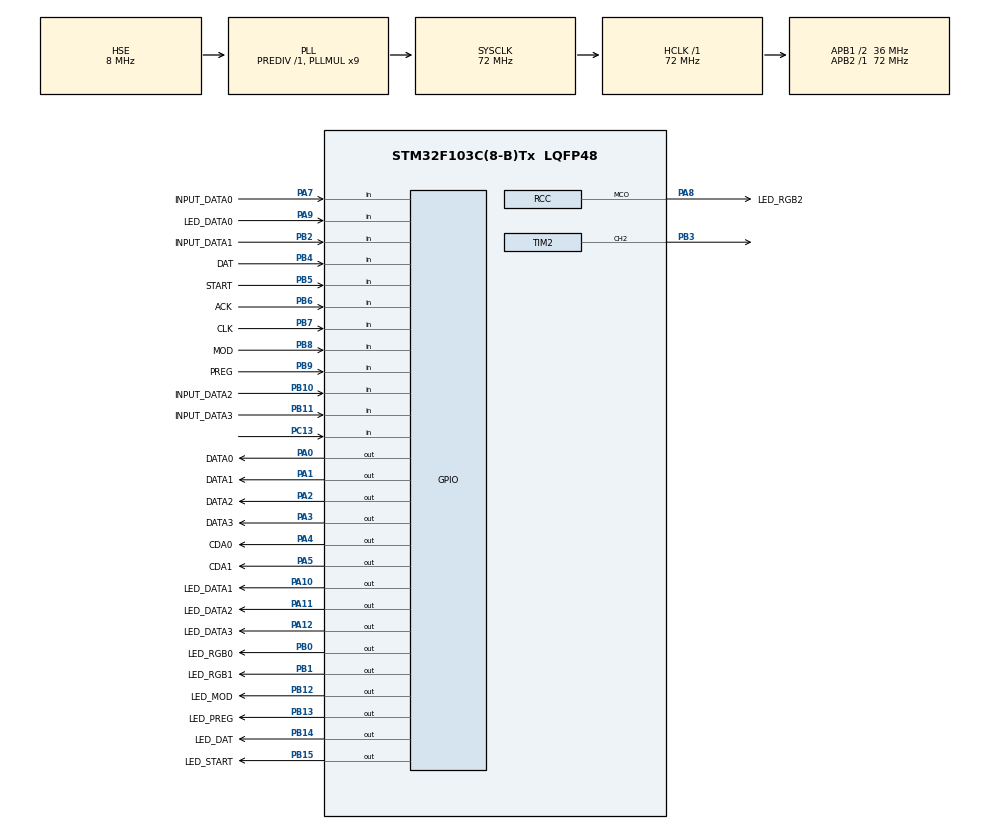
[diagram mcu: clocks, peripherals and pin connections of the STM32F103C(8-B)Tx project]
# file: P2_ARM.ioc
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Mcu.Family=STM32F1
Mcu.Name=STM32F103C(8-B)Tx
Mcu.Package=LQFP48
NVIC.PriorityGroup=NVIC_PRIORITYGROUP_4
NVIC.RCC_IRQn=true\:0\:0\:false\:false\:true\:true\:false\:true
NVIC.TIM2_IRQn=true\:0\:0\:false\:false\:true\:true\:true\:true
PA0-WKUP.GPIO_Label=DATA0
PA0-WKUP.Signal=GPIO_Output
PA1.GPIO_Label=DATA1
PA1.Signal=GPIO_Output
PA10.GPIO_Label=LED_DATA1
PA10.Signal=GPIO_Output
PA11.GPIO_Label=LED_DATA2
PA11.Signal=GPIO_Output
PA12.GPIO_Label=LED_DATA3
PA12.Signal=GPIO_Output
PA13.Signal=SYS_JTMS-SWDIO
PA14.Signal=SYS_JTCK-SWCLK
PA2.GPIO_Label=DATA2
PA2.Signal=GPIO_Output
PA3.GPIO_Label=DATA3
PA3.Signal=GPIO_Output
PA4.GPIO_Label=CDA0
PA4.Signal=GPIO_Output
PA5.GPIO_Label=CDA1
PA5.Signal=GPIO_Output
PA7.GPIO_Label=INPUT_DATA0
PA7.Signal=GPIO_Input
PA8.GPIO_Label=LED_RGB2
PA8.Mode=Clock-out
PA8.Signal=RCC_MCO
PA9.GPIO_Label=LED_DATA0
PA9.Signal=GPIO_Input
PB0.GPIO_Label=LED_RGB0
PB0.Signal=GPIO_Output
PB1.GPIO_Label=LED_RGB1
PB1.Signal=GPIO_Output
PB10.GPIO_Label=INPUT_DATA2
PB10.Signal=GPIO_Input
PB11.GPIO_Label=INPUT_DATA3
PB11.Signal=GPIO_Input
PB12.GPIO_Label=LED_MOD
PB12.Signal=GPIO_Output
PB13.GPIO_Label=LED_PREG
PB13.Signal=GPIO_Output
PB14.GPIO_Label=LED_DAT
PB14.Signal=GPIO_Output
PB15.GPIO_Label=LED_START
PB15.Signal=GPIO_Output
PB2.GPIO_Label=INPUT_DATA1
PB2.Signal=GPIO_Input
PB3.Signal=S_TIM2_CH2
PB4.GPIO_Label=DAT
PB4.Signal=GPIO_Input
PB5.GPIO_Label=START
PB5.Signal=GPIO_Input
PB6.GPIO_Label=ACK
PB6.Signal=GPIO_Input
PB7.GPIO_Label=CLK
PB7.Signal=GPIO_Input
PB8.GPIO_Label=MOD
PB8.Signal=GPIO_Input
PB9.GPIO_Label=PREG
PB9.Signal=GPIO_Input
PC13-TAMPER-RTC.Signal=GPIO_Input
PD0-OSC_IN.Mode=HSE-External-Oscillator
PD0-OSC_IN.Signal=RCC_OSC_IN
PD1-OSC_OUT.Mode=HSE-External-Oscillator
PD1-OSC_OUT.Signal=RCC_OSC_OUT
ProjectManager.HeapSize=0x200
ProjectManager.StackSize=0x400
ProjectManager.TargetToolchain=STM32CubeIDE
RCC.AHBFreq_Value=72000000
RCC.APB1CLKDivider=RCC_HCLK_DIV2
RCC.APB1Freq_Value=36000000
RCC.APB1TimFreq_Value=72000000
RCC.APB2Freq_Value=72000000
RCC.APB2TimFreq_Value=72000000
RCC.HCLKFreq_Value=72000000
RCC.PLLMUL=RCC_PLL_MUL9
RCC.PLLSourceVirtual=RCC_PLLSOURCE_HSE
RCC.RCC_MCOSource=RCC_MCO1SOURCE_PLLCLK
RCC.SYSCLKFreq_VALUE=72000000
RCC.SYSCLKSource=RCC_SYSCLKSOURCE_PLLCLK
RCC.USBFreq_Value=72000000
SH.S_TIM2_CH2.0=TIM2_CH2,PWM Generation2 CH2
TIM2.AutoReloadPreload=TIM_AUTORELOAD_PRELOAD_DISABLE
TIM2.Channel-PWM\ Generation2\ CH2=TIM_CHANNEL_2
TIM2.Period=100
TIM2.Prescaler=7199
VP_SYS_VS_ND.Mode=No_Debug
VP_TIM2_VS_ClockSourceINT.Mode=Internal
VP_TIM2_VS_ClockSourceITR.Mode=TriggerSource_ITR2
board=custom

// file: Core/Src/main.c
/* USER CODE BEGIN Header */
/**
  ******************************************************************************
  * @file           : main.c
  * @brief          : Main program body
  ******************************************************************************
  * @attention
  *
  * Copyright (c) 2025 STMicroelectronics.
  * All rights reserved.
  *
  * This software is licensed under terms that can be found in the LICENSE file
  * in the root directory of this software component.
  * If no LICENSE file comes with this software, it is provided AS-IS.
  *
  ******************************************************************************
  */
/* USER CODE END Header */
#include "main.h"
#include "stm32f1xx_hal.h"

TIM_HandleTypeDef htim2;

/* USER CODE BEGIN PV */
#define NUMS_LED 8 //Number of LEDs
#define NUMS_BITS_DATA 4

#define BUTTONS_PINS   {INPUT_DATA0_Pin, INPUT_DATA1_Pin, INPUT_DATA2_Pin, INPUT_DATA3_Pin}
#define BUTTONS_PORTS  {INPUT_DATA0_GPIO_Port, INPUT_DATA1_GPIO_Port, INPUT_DATA2_GPIO_Port, INPUT_DATA3_GPIO_Port}

#define DATA_PINS   {DATA0_Pin, DATA1_Pin, DATA2_Pin, DATA3_Pin}
#define DATA_PORTS  {DATA0_GPIO_Port, DATA1_GPIO_Port, DATA2_GPIO_Port, DATA3_GPIO_Port}

// LED Pins
#define LED_PINS {LED_MOD_Pin, LED_PREG_Pin, LED_DAT_Pin, LED_START_Pin, LED_DATA0_Pin, LED_DATA1_Pin, LED_DATA2_Pin, LED_DATA3_Pin}

// LED Ports
#define LED_PORTS {LED_MOD_GPIO_Port, LED_PREG_GPIO_Port, LED_DAT_GPIO_Port, LED_START_GPIO_Port, LED_DATA0_GPIO_Port, LED_DATA1_GPIO_Port, LED_DATA2_GPIO_Port, LED_DATA3_GPIO_Port}

uint8_t startStatus = 0; // Start Status Variable
uint8_t datStatus = 0; // DAT Status Variable
uint8_t modStatus = 0; // MOD Status Variable
uint8_t pregStatus = 0; // PREG Status Variable
uint8_t ledData[NUMS_LED]; // Array for storing LED Status
uint8_t dataArr[NUMS_BITS_DATA]; // Array used for storing data for transmissions
uint8_t cdaStatus = 0; // (CDA & 1) Status for CDA0_Pin and (CDA & (1 << 1)) Status for CDA1_Pin

uint8_t Q = 0;

/* USER CODE END PV */

void SystemClock_Config(void);
static void MX_GPIO_Init(void);
static void MX_TIM2_Init(void);
/* USER CODE BEGIN PFP */
void EXTI_Init();
/* USER CODE END PFP */

int main(void)
{

  /* MCU Configuration--------------------------------------------------------*/

  /* Reset of all peripherals, Initializes the Flash interface and the Systick. */
  HAL_Init();

  /* USER CODE BEGIN Init */
  HAL_TIM_Base_Start_IT(&htim2); // Init Tim2 Instance

  /* USER CODE END Init */

  /* Configure the system clock */
  SystemClock_Config();

  /* Initialize all configured peripherals */
  MX_GPIO_Init();
  MX_TIM2_Init();
  /* USER CODE BEGIN 2 */
//  EXTI_Init();

  /* USER CODE END 2 */

  /* Infinite loop */
  while (1)
  {

  }
}

void SystemClock_Config(void)
{
  RCC_OscInitTypeDef RCC_OscInitStruct = {0};
  RCC_ClkInitTypeDef RCC_ClkInitStruct = {0};

  /** Initializes the RCC Oscillators according to the specified parameters
  * in the RCC_OscInitTypeDef structure.
  */
  RCC_OscInitStruct.OscillatorType = RCC_OSCILLATORTYPE_HSE;
  RCC_OscInitStruct.HSEState = RCC_HSE_ON;
  RCC_OscInitStruct.HSEPredivValue = RCC_HSE_PREDIV_DIV1;
  RCC_OscInitStruct.HSIState = RCC_HSI_ON;
  RCC_OscInitStruct.PLL.PLLState = RCC_PLL_ON;
  RCC_OscInitStruct.PLL.PLLSource = RCC_PLLSOURCE_HSE;
  RCC_OscInitStruct.PLL.PLLMUL = RCC_PLL_MUL9;
  if (HAL_RCC_OscConfig(&RCC_OscInitStruct) != HAL_OK)
  {
    Error_Handler();
  }

  /** Initializes the CPU, AHB and APB buses clocks
  */
  RCC_ClkInitStruct.ClockType = RCC_CLOCKTYPE_HCLK|RCC_CLOCKTYPE_SYSCLK
                              |RCC_CLOCKTYPE_PCLK1|RCC_CLOCKTYPE_PCLK2;
  RCC_ClkInitStruct.SYSCLKSource = RCC_SYSCLKSOURCE_PLLCLK;
  RCC_ClkInitStruct.AHBCLKDivider = RCC_SYSCLK_DIV1;
  RCC_ClkInitStruct.APB1CLKDivider = RCC_HCLK_DIV2;
  RCC_ClkInitStruct.APB2CLKDivider = RCC_HCLK_DIV1;

  if (HAL_RCC_ClockConfig(&RCC_ClkInitStruct, FLASH_LATENCY_2) != HAL_OK)
  {
    Error_Handler();
  }
  HAL_RCC_MCOConfig(RCC_MCO, RCC_MCO1SOURCE_PLLCLK, RCC_MCODIV_1);
}

static void MX_TIM2_Init(void)
{

  TIM_ClockConfigTypeDef sClockSourceConfig = {0};
  TIM_SlaveConfigTypeDef sSlaveConfig = {0};
  TIM_MasterConfigTypeDef sMasterConfig = {0};
  TIM_OC_InitTypeDef sConfigOC = {0};

  htim2.Instance = TIM2;
  htim2.Init.Prescaler = 7199;
  htim2.Init.CounterMode = TIM_COUNTERMODE_UP;
  htim2.Init.Period = 100;
  htim2.Init.ClockDivision = TIM_CLOCKDIVISION_DIV1;
  htim2.Init.AutoReloadPreload = TIM_AUTORELOAD_PRELOAD_DISABLE;
  if (HAL_TIM_Base_Init(&htim2) != HAL_OK)
  {
    Error_Handler();
  }
  sClockSourceConfig.ClockSource = TIM_CLOCKSOURCE_INTERNAL;
  if (HAL_TIM_ConfigClockSource(&htim2, &sClockSourceConfig) != HAL_OK)
  {
    Error_Handler();
  }
  if (HAL_TIM_PWM_Init(&htim2) != HAL_OK)
  {
    Error_Handler();
  }
  sSlaveConfig.SlaveMode = TIM_SLAVEMODE_DISABLE;
  sSlaveConfig.InputTrigger = TIM_TS_ITR2;
  if (HAL_TIM_SlaveConfigSynchro(&htim2, &sSlaveConfig) != HAL_OK)
  {
    Error_Handler();
  }
  sMasterConfig.MasterOutputTrigger = TIM_TRGO_RESET;
  sMasterConfig.MasterSlaveMode = TIM_MASTERSLAVEMODE_DISABLE;
  if (HAL_TIMEx_MasterConfigSynchronization(&htim2, &sMasterConfig) != HAL_OK)
  {
    Error_Handler();
  }
  sConfigOC.OCMode = TIM_OCMODE_PWM1;
  sConfigOC.Pulse = 0;
  sConfigOC.OCPolarity = TIM_OCPOLARITY_HIGH;
  sConfigOC.OCFastMode = TIM_OCFAST_DISABLE;
  if (HAL_TIM_PWM_ConfigChannel(&htim2, &sConfigOC, TIM_CHANNEL_2) != HAL_OK)
  {
    Error_Handler();
  }
  HAL_TIM_MspPostInit(&htim2);

}

static void MX_GPIO_Init(void)
{
  GPIO_InitTypeDef GPIO_InitStruct = {0};

  /* GPIO Ports Clock Enable */
  __HAL_RCC_GPIOC_CLK_ENABLE();
  __HAL_RCC_GPIOD_CLK_ENABLE();
  __HAL_RCC_GPIOA_CLK_ENABLE();
  __HAL_RCC_GPIOB_CLK_ENABLE();

  /*Configure GPIO pin Output Level */
  HAL_GPIO_WritePin(GPIOA, DATA0_Pin|DATA1_Pin|DATA2_Pin|DATA3_Pin
                          |CDA0_Pin|CDA1_Pin|LED_DATA1_Pin|LED_DATA2_Pin
                          |LED_DATA3_Pin, GPIO_PIN_RESET);

  /*Configure GPIO pin Output Level */
  HAL_GPIO_WritePin(GPIOB, LED_RGB0_Pin|LED_RGB1_Pin|LED_MOD_Pin|LED_PREG_Pin
                          |LED_DAT_Pin|LED_START_Pin, GPIO_PIN_RESET);

  /*Configure GPIO pin : PC13 */
  GPIO_InitStruct.Pin = GPIO_PIN_13;
  GPIO_InitStruct.Mode = GPIO_MODE_INPUT;
  GPIO_InitStruct.Pull = GPIO_NOPULL;
  HAL_GPIO_Init(GPIOC, &GPIO_InitStruct);

  /*Configure GPIO pins : DATA0_Pin DATA1_Pin DATA2_Pin DATA3_Pin
                           CDA0_Pin CDA1_Pin LED_DATA1_Pin LED_DATA2_Pin
                           LED_DATA3_Pin */
  GPIO_InitStruct.Pin = DATA0_Pin|DATA1_Pin|DATA2_Pin|DATA3_Pin
                          |CDA0_Pin|CDA1_Pin|LED_DATA1_Pin|LED_DATA2_Pin
                          |LED_DATA3_Pin;
  GPIO_InitStruct.Mode = GPIO_MODE_OUTPUT_PP;
  GPIO_InitStruct.Pull = GPIO_NOPULL;
  GPIO_InitStruct.Speed = GPIO_SPEED_FREQ_LOW;
  HAL_GPIO_Init(GPIOA, &GPIO_InitStruct);

  /*Configure GPIO pins : INPUT_DATA0_Pin LED_DATA0_Pin */
  GPIO_InitStruct.Pin = INPUT_DATA0_Pin|LED_DATA0_Pin;
  GPIO_InitStruct.Mode = GPIO_MODE_INPUT;
  GPIO_InitStruct.Pull = GPIO_NOPULL;
  HAL_GPIO_Init(GPIOA, &GPIO_InitStruct);

  /*Configure GPIO pins : LED_RGB0_Pin LED_RGB1_Pin LED_MOD_Pin LED_PREG_Pin
                           LED_DAT_Pin LED_START_Pin */
  GPIO_InitStruct.Pin = LED_RGB0_Pin|LED_RGB1_Pin|LED_MOD_Pin|LED_PREG_Pin
                          |LED_DAT_Pin|LED_START_Pin;
  GPIO_InitStruct.Mode = GPIO_MODE_OUTPUT_PP;
  GPIO_InitStruct.Pull = GPIO_NOPULL;
  GPIO_InitStruct.Speed = GPIO_SPEED_FREQ_LOW;
  HAL_GPIO_Init(GPIOB, &GPIO_InitStruct);

  /*Configure GPIO pins : INPUT_DATA1_Pin INPUT_DATA2_Pin INPUT_DATA3_Pin DAT_Pin
                           START_Pin ACK_Pin CLK_Pin MOD_Pin
                           PREG_Pin */
  GPIO_InitStruct.Pin = INPUT_DATA1_Pin|INPUT_DATA2_Pin|INPUT_DATA3_Pin|DAT_Pin
                          |START_Pin|ACK_Pin|CLK_Pin|MOD_Pin
                          |PREG_Pin;
  GPIO_InitStruct.Mode = GPIO_MODE_INPUT;
  GPIO_InitStruct.Pull = GPIO_NOPULL;
  HAL_GPIO_Init(GPIOB, &GPIO_InitStruct);

  /*Configure GPIO pin : LED_RGB2_Pin */
  GPIO_InitStruct.Pin = LED_RGB2_Pin;
  GPIO_InitStruct.Mode = GPIO_MODE_AF_PP;
  GPIO_InitStruct.Speed = GPIO_SPEED_FREQ_LOW;
  HAL_GPIO_Init(LED_RGB2_GPIO_Port, &GPIO_InitStruct);

}

/* USER CODE BEGIN 4 */

/*
 * @brief Timer2 interrupt callback (every 10ms).
 *        Handles communication protocol FSM between two MCUs.
 */
void HAL_TIM_PeriodElapsedCallback(TIM_HandleTypeDef *htim){
	if (htim->Instance != TIM2){
		return ;
	}

	switch(Q){  // Finite State Machine (FSM) controller using Q as state variable
		case 0:
			// Check if START button is pressed
			if (HAL_GPIO_ReadPin(START_GPIO_Port, START_Pin) == GPIO_PIN_SET){
				Q = 3; // Go to START signal handling state
				startStatus = 1; // Mark that dat was pressed
				updateLedData(LED_START_Pin, (1 & startStatus)); // Update LED status
			}

			// Check if DAT button is pressed
			if (HAL_GPIO_ReadPin(DAT_GPIO_Port, DAT_Pin) == GPIO_PIN_SET){
				Q = 1; // Go to data signal handling state
				datStatus = 1; // Mark that start was pressed
				updateLedData(LED_DAT_Pin, (1 & datStatus)); // Update LED status
			}

			// Check if PREG button toggled
			if (HAL_GPIO_ReadPin(PREG_GPIO_Port, PREG_Pin) == GPIO_PIN_SET){
				pregStatus = 1; // Set PREG status to 1
				updateLedData(LED_PREG_Pin, pregStatus); // Update LED
			}

			// Check if MOD button toggled
			if (HAL_GPIO_ReadPin(MOD_GPIO_Port, MOD_Pin) == GPIO_PIN_SET){
				modStatus = 1; // Set MOD status to 1
				updateLedData(LED_MOD_Pin, modStatus); // Update LED
			}

			sendLED(); // Update all LED outputs according to ledData[]
			break;

		case 1:
			// Wait for START button to be still pressed
			if (HAL_GPIO_ReadPin(START_GPIO_Port, START_Pin) == GPIO_PIN_SET){
				Q = 2; // Go to START setup
				startStatus = 1; // Toggle START flag
			}
			break;

		case 2:
		{
			// Set ACK pin as input
			GPIO_InitTypeDef GPIO_InitStruct = {0};
			GPIO_InitStruct.Pin = ACK_Pin;
			GPIO_InitStruct.Mode = GPIO_MODE_INPUT;
			GPIO_InitStruct.Pull = GPIO_NOPULL;
			GPIO_InitStruct.Speed = GPIO_SPEED_FREQ_LOW;
			HAL_GPIO_Init(ACK_GPIO_Port, &GPIO_InitStruct);

			// Set CLK pin as output
			GPIO_InitStruct.Pin = CLK_Pin;
			GPIO_InitStruct.Mode = GPIO_MODE_OUTPUT_PP;
			GPIO_InitStruct.Pull = GPIO_NOPULL;
			HAL_GPIO_Init(CLK_GPIO_Port, &GPIO_InitStruct);

			// Prepare data pins as OUTPUT for transmission
			uint16_t data_pins[] = DATA_PINS;
			GPIO_TypeDef* data_ports[] = DATA_PORTS;
			setPinMode(data_pins, data_ports, NUMS_BITS_DATA, GPIO_MODE_OUTPUT_PP);

			Q = 10; // Proceed to transmit command (CDA)
			break;
		}

		case 3:
			// Wait for DAT button to be still pressed
			if (HAL_GPIO_ReadPin(DAT_GPIO_Port, DAT_Pin) == GPIO_PIN_SET){
				Q = 4; // Continue flow
				datStatus = 1; // Toggle DAT flag
			}
			break;

		case 4:
			// Decide whether to read or write based on MOD button
			if (modStatus){
				Q = 6; // MOD = 1 → Read mode
			}else{
				Q = 5; // MOD = 0 → Write mode
			}
			break;

		case 5:
		{
			// Set ACK as OUTPUT
			GPIO_InitTypeDef GPIO_InitStruct = {0};
			GPIO_InitStruct.Pin = ACK_Pin;
			GPIO_InitStruct.Mode = GPIO_MODE_OUTPUT_PP;
			GPIO_InitStruct.Pull = GPIO_NOPULL;
			GPIO_InitStruct.Speed = GPIO_SPEED_FREQ_LOW;
			HAL_GPIO_Init(ACK_GPIO_Port, &GPIO_InitStruct);

			// Set CLK as INPUT (will wait for clock from external device)
			GPIO_InitStruct.Pin = CLK_Pin;
			GPIO_InitStruct.Mode = GPIO_MODE_INPUT;
			GPIO_InitStruct.Pull = GPIO_NOPULL;
			HAL_GPIO_Init(CLK_GPIO_Port, &GPIO_InitStruct);

			Q = 30; // Ready to transmit actual data
			break;
		}

		case 6:
		{
			// Setup for reading data
			GPIO_InitTypeDef GPIO_InitStruct = {0};
			GPIO_InitStruct.Pin = ACK_Pin;
			GPIO_InitStruct.Mode = GPIO_MODE_INPUT;
			GPIO_InitStruct.Pull = GPIO_NOPULL;
			GPIO_InitStruct.Speed = GPIO_SPEED_FREQ_LOW;
			HAL_GPIO_Init(ACK_GPIO_Port, &GPIO_InitStruct);

			// Set CLK pin as OUTPUT (we will toggle it)
			GPIO_InitStruct.Pin = CLK_Pin;
			GPIO_InitStruct.Mode = GPIO_MODE_OUTPUT_PP;
			GPIO_InitStruct.Pull = GPIO_NOPULL;
			HAL_GPIO_Init(CLK_GPIO_Port, &GPIO_InitStruct);

			// Configure data pins as INPUT
			uint16_t data_pins[] = DATA_PINS;
			GPIO_TypeDef* data_ports[] = DATA_PORTS;
			setPinMode(data_pins, data_ports, NUMS_BITS_DATA, GPIO_MODE_INPUT);

			Q = 60; // Ready to receive data
			break;
		}

		case 10:
			// Set CDA based on MOD and PREG button states
			cdaStatus = 2 * pregStatus + modStatus;
			Q = 11;
			break;

		case 11:
			// Transmit CDA on 2 pins
			WR_CDA();

			// Set CLK low to signal start of transmission
			HAL_GPIO_WritePin(CLK_GPIO_Port, CLK_Pin, GPIO_PIN_RESET);
			Q = 12;
			break;

		case 12:
			// Set CLK high to latch data
			HAL_GPIO_WritePin(CLK_GPIO_Port, CLK_Pin, GPIO_PIN_SET);
			Q = 13;
			break;

		case 13:
			// Wait for ACK to go LOW (waiting for external device)
			if (HAL_GPIO_ReadPin(ACK_GPIO_Port, ACK_Pin) != GPIO_PIN_SET){
				Q = 14;
			}
			break;

		case 14:
			// Wait for ACK to go HIGH again (external device accepted command)
			if (HAL_GPIO_ReadPin(ACK_GPIO_Port, ACK_Pin) == GPIO_PIN_SET){
				startStatus = 0; // Reset flag
				Q = 0; // Go back to idle
			}
			break;

		case 30:
			readButtonData(); // Read 4-bit data
			SEND_DATA();      // Send it through GPIO
			HAL_GPIO_WritePin(CLK_GPIO_Port, CLK_Pin, GPIO_PIN_RESET); // Clock low
			Q = 31;
			break;

		case 31:
			HAL_GPIO_WritePin(CLK_GPIO_Port, CLK_Pin, GPIO_PIN_SET); // Clock high
			Q = 32;
			break;

		case 32:
			// Wait for external device to lower ACK
			if (HAL_GPIO_ReadPin(ACK_GPIO_Port, ACK_Pin) != GPIO_PIN_SET){
				Q = 33;
			}
			break;

		case 33:
			// Wait for external device to raise ACK back
			if (HAL_GPIO_ReadPin(ACK_GPIO_Port, ACK_Pin) != GPIO_PIN_SET){
				Q = 0;
				datStatus = 0; // Reset data flag
			}
			break;

		case 60:
			// Wait for CLK to go LOW (indicating start from external MCU)
			if (HAL_GPIO_ReadPin(CLK_GPIO_Port, CLK_Pin) != GPIO_PIN_SET){
				Q = 61;
			}
			break;

		case 61:
			// Wait for CLK to go HIGH again (indicating data ready)
			if (HAL_GPIO_ReadPin(CLK_GPIO_Port, CLK_Pin) == GPIO_PIN_SET){
				Q = 62;
			}
			break;

		case 62:
			READ_DATA(); // Read incoming 4-bit data
			HAL_GPIO_WritePin(ACK_GPIO_Port, ACK_Pin, GPIO_PIN_RESET); // Pull ACK low
			Q = 63;
			break;

		case 63:
			// Finish by pulling ACK high
			HAL_GPIO_WritePin(ACK_GPIO_Port, ACK_Pin, GPIO_PIN_SET);
			datStatus = 0; // Reset flag
			Q = 0; // Back to idle
			break;

		default:
			// Safety default in case Q has invalid value
			break;
	}
}

/*
 * @brief Updates physical LED outputs based on the `ledData[]` array.
 *        Each element in `ledData` corresponds to an LED's ON (1) or OFF (0) state.
 */
void sendLED(void){
    // Define local arrays holding pin numbers and corresponding GPIO ports for the LEDs.
    uint16_t led_pins[] = LED_PINS;
    GPIO_TypeDef* led_ports[] = LED_PORTS;

    // Loop through each LED (total NUMS_LED = 8)
    for (int i = 0; i < NUMS_LED; i++) {
        /*
         * Write to each LED pin:
         * - If `ledData[i]` is 1 → GPIO_PIN_SET (turn LED ON)
         * - If `ledData[i]` is 0 → GPIO_PIN_RESET (turn LED OFF)
         * Uses pointer arithmetic to access port and pin arrays.
         */
        HAL_GPIO_WritePin(
            *(led_ports + i),                  // LED GPIO port
            *(led_pins + i),                   // LED GPIO pin
            (*(ledData + i) & 1) != 0          // LED state: ON if value is 1, else OFF
                ? GPIO_PIN_SET
                : GPIO_PIN_RESET
        );
    }
}

/*
 * @brief Updates the `ledData[]` array for a specific LED pin.
 *        This function is used to change the logical state of an LED
 *        (used later by sendLED() to update physical output).
 *
 * @param pin:   The specific GPIO pin associated with the LED.
 * @param state: Desired state for the LED (1 = ON, 0 = OFF).
 */
void updateLedData(uint16_t pin, uint8_t state){
    // Create a local array containing the list of all defined LED pins
    uint16_t led_pins[] = LED_PINS;

    // Loop through the list of LED pins to find the matching one
    for(int i = 0; i < NUMS_LED; i++){
        // If the given pin matches the current pin in the array
        if (pin == *(led_pins + i)){
            // Update the corresponding index in ledData with the new state
            *(ledData + i) = state;
            // Exit the loop after finding the match
            break;
        }
    }
}

/*
 * Enable GPIO IR
 */
void EXTI_Init(void) {
//    GPIO_InitTypeDef GPIO_InitStruct = {0};
//
//    // Enable clocks for GPIOA and GPIOB (Already enabled in MX_GPIO_Init )
//    	__HAL_RCC_GPIOA_CLK_ENABLE();
//    	__HAL_RCC_GPIOB_CLK_ENABLE();
//
//    // Define Pins & Ports Arrays
//    uint16_t exti_pins[] = {START_Pin, DAT_Pin, PREG_Pin, MOD_Pin};
//    GPIO_TypeDef* exti_ports[] = {START_GPIO_Port, DAT_GPIO_Port, PREG_GPIO_Port, MOD_GPIO_Port};
//
//    // Configure
//
//    //Setting up port for Rising Only Interrupt
//    for (int i = 0; i < 2; i++){
//    	GPIO_InitStruct.Pin = *(exti_pins + i);
//    	GPIO_InitStruct.Mode = GPIO_MODE_IT_RISING;
//    	GPIO_InitStruct.Pull = GPIO_PULLDOWN;
//    	HAL_GPIO_Init(*(exti_ports + i), &GPIO_InitStruct);
//    }
//
//    // Setting up port for Rising & Falling Interrupt
//    for (int i = 2; i < 4; i++){
//    	GPIO_InitStruct.Pin = *(exti_pins + i); //Alternative for exti_pins[i]
//    	GPIO_InitStruct.Mode = GPIO_MODE_IT_RISING_FALLING;
//    	GPIO_InitStruct.Pull = GPIO_NOPULL;
//    	HAL_GPIO_Init(*(exti_ports + i), &GPIO_InitStruct); //Alternative for exti_ports[i]
//    }
//
//    // Enable NVIC for the corresponding EXTI lines
//    HAL_NVIC_SetPriority(EXTI0_IRQn, 2, 0);
//    HAL_NVIC_EnableIRQ(EXTI0_IRQn);
//
//    HAL_NVIC_SetPriority(EXTI1_IRQn, 2, 0);
//    HAL_NVIC_EnableIRQ(EXTI1_IRQn);
//
//    HAL_NVIC_SetPriority(EXTI9_5_IRQn, 2, 0);
//    HAL_NVIC_EnableIRQ(EXTI9_5_IRQn);
}

/*
 * @brief Reads data from CDA0 and CDA1 pins.
 * @details Configures the pins as input, reads their states, and stores values.
 */
void RD_CDA(void){
		GPIO_InitTypeDef GPIO_InitStruct = {0};

	    // Configure CDA0 and CDA1 as INPUT mode
	    GPIO_InitStruct.Pin = CDA0_Pin | CDA1_Pin;
	    GPIO_InitStruct.Mode = GPIO_MODE_INPUT;
	    GPIO_InitStruct.Pull = GPIO_NOPULL;
	    HAL_GPIO_Init(GPIOA, &GPIO_InitStruct);

	    // Read pin states
	    uint8_t cda0_state = HAL_GPIO_ReadPin(CDA0_GPIO_Port, CDA0_Pin);
	    uint8_t cda1_state = HAL_GPIO_ReadPin(CDA1_GPIO_Port, CDA1_Pin);

	    // Store or process the received data (modify as needed)
	    cdaStatus = (cda1_state << 1) | cda0_state;
}

/*
 * @brief Writes data to CDA0 and CDA1 pins.
 *
 * @details This function uses the global variable `cdaStatus` to set the logic level
 *          on two output pins (CDA0 and CDA1). The value of `cdaStatus` is a 2-bit number (0 to 3)
 *          and each bit controls one of the two CDA pins:
 *            - Bit 0 (LSB) controls CDA0
 *            - Bit 1 controls CDA1
 *          The pin logic is set as follows:
 *            - 00 (0) -> CDA0 = LOW, CDA1 = LOW
 *            - 01 (1) -> CDA0 = HIGH, CDA1 = LOW
 *            - 10 (2) -> CDA0 = LOW, CDA1 = HIGH
 *            - 11 (3) -> CDA0 = HIGH, CDA1 = HIGH
 */
void WR_CDA(void){
    // Set CDA0 pin based on bit 0 of cdaStatus.
    // If bit 0 is 1, set CDA0 HIGH; otherwise, set it LOW.
    HAL_GPIO_WritePin(CDA0_GPIO_Port, CDA0_Pin, (cdaStatus & 0x01) ? GPIO_PIN_SET : GPIO_PIN_RESET);

    // Set CDA1 pin based on bit 1 of cdaStatus.
    // If bit 1 is 1, set CDA1 HIGH; otherwise, set it LOW.
    HAL_GPIO_WritePin(CDA1_GPIO_Port, CDA1_Pin, (cdaStatus & 0x02) ? GPIO_PIN_SET : GPIO_PIN_RESET);
}

/*
 * @brief Reads data from button input pins and stores the values in the `dataArr[]` array.
 *
 * @details Each button is connected to a specific pin (defined in BUTTONS_PINS and BUTTONS_PORTS).
 *          This function loops through all 4 buttons, reads their digital state (HIGH or LOW),
 *          and stores the result (0 or 1) in the `dataArr[]` array at the corresponding index.
 *
 *          The array `dataArr[]` acts as a buffer to hold the state of each input button.
 *
 *          - INPUT: BUTTONS_PINS[] = list of pins connected to buttons
 *                   BUTTONS_PORTS[] = list of corresponding GPIO ports
 *          - OUTPUT: dataArr[] = stores the state (0 or 1) for each button
 */
void readButtonData(void){
    // Define the pins connected to each input button
    uint16_t btn_pins[] = BUTTONS_PINS;

    // Define the ports where each button is connected
    GPIO_TypeDef *btn_ports[] = BUTTONS_PORTS;

    // Iterate through all input buttons (0 to NUMS_BITS_DATA - 1)
    for (int i = 0; i < NUMS_BITS_DATA; i++){
        // Read the state of each button pin (GPIO_PIN_SET or GPIO_PIN_RESET)
        // and store 0 or 1 into the dataArr array
        *(dataArr + i) = HAL_GPIO_ReadPin(*(btn_ports + i), *(btn_pins + i));
    }
}

/*
 * @brief Configures the DATA pins as output and sends the values stored in the `dataArr[]` array.
 *
 * @details This function iterates over the 4 data lines (DATA0 to DATA3) and writes either
 *          a HIGH or LOW logic level depending on the value stored in the `dataArr[]`.
 *
 *          - If `dataArr[i] == 1`, the corresponding GPIO pin is set to HIGH (GPIO_PIN_SET).
 *          - If `dataArr[i] == 0`, the GPIO pin is set to LOW (GPIO_PIN_RESET).
 *
 *          The data pins and their corresponding ports are stored in the `DATA_PINS` and `DATA_PORTS` macros.
 */
void SEND_DATA(void){
    // Array of data pin numbers (e.g., DATA0_Pin to DATA3_Pin)
    uint16_t data_pins[] = DATA_PINS;

    // Array of corresponding GPIO port pointers (e.g., GPIOA)
    GPIO_TypeDef* data_ports[] = DATA_PORTS;

    // Iterate through each data pin
    for (int i = 0; i < NUMS_BITS_DATA; i++) {
        // Write the logic level to the pin based on dataArr[i]
        // If dataArr[i] is 1 → GPIO_PIN_SET (logic high)
        // If dataArr[i] is 0 → GPIO_PIN_RESET (logic low)
        HAL_GPIO_WritePin(*(data_ports + i), *(data_pins + i), (dataArr[i] ? GPIO_PIN_SET : GPIO_PIN_RESET));
    }
}

/*
 * @brief Configures DATA pins as input and reads values into `dataArr[]`.
 *
 * @details This function reads the digital state (HIGH or LOW) of each data pin (DATA0 to DATA3)
 *          and stores the result in the `dataArr[]` array. Additionally, it calls `updateLedData()`
 *          for each pin to reflect the read value on the corresponding LED.
 */
void READ_DATA(void){
    // Define the array of data pin numbers (e.g., DATA0_Pin to DATA3_Pin)
    uint16_t data_pins[] = DATA_PINS;

    // Define the array of corresponding GPIO port pointers (e.g., GPIOA)
    GPIO_TypeDef* data_ports[] = DATA_PORTS;

    // Loop through each data pin
    for (int i = 0; i < NUMS_BITS_DATA; i++) {
        // Read the pin value: 1 (HIGH) or 0 (LOW)
        *(dataArr + i) = HAL_GPIO_ReadPin(*(data_ports + i), *(data_pins + i));

        // Update the LED data state to reflect the read value
        updateLedData(*(data_pins + i), *(dataArr + i));
    }
}

/*
 * @brief Configures multiple GPIO pins to a specified mode.
 *
 * @param dataPins: Array of GPIO pins to be configured (e.g., DATA0_Pin, DATA1_Pin).
 * @param dataPorts: Array of corresponding GPIO ports for each pin (e.g., GPIOA, GPIOB).
 * @param numPins: Total number of pins to configure.
 * @param mode: GPIO mode to apply (e.g., GPIO_MODE_INPUT, GPIO_MODE_OUTPUT_PP).
 */
void setPinMode(uint16_t *dataPins, GPIO_TypeDef **dataPorts, uint8_t numPins, uint32_t mode) {
    // Structure used to define the configuration for each GPIO pin
    GPIO_InitTypeDef GPIO_InitStruct = {0};

    // Loop over each pin to apply the configuration
    for (int i = 0; i < numPins; i++) {
        // Set the current pin from the array
        GPIO_InitStruct.Pin = dataPins[i]; // *(dataPins + i)

        // Set the desired mode (input/output/pull-up/etc.)
        GPIO_InitStruct.Mode = mode;

        // No internal pull-up or pull-down resistors enabled
        GPIO_InitStruct.Pull = GPIO_NOPULL;

        // Set pin speed to low (sufficient for digital GPIO use)
        GPIO_InitStruct.Speed = GPIO_SPEED_FREQ_LOW;

        // Apply the configuration to the corresponding port and pin
        HAL_GPIO_Init(dataPorts[i], &GPIO_InitStruct);
    }
}

/* USER CODE END 4 */

void Error_Handler(void)
{
  __disable_irq();
  while (1)
  {
  }
}
